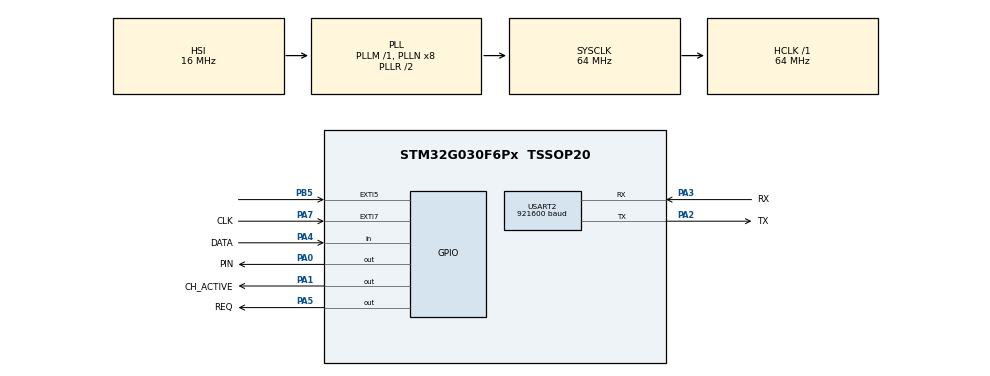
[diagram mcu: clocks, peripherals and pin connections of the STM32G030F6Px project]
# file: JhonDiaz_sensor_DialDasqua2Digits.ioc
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Mcu.Family=STM32G0
Mcu.Name=STM32G030F6Px
Mcu.Package=TSSOP20
NVIC.EXTI4_15_IRQn=true\:0\:0\:false\:true\:true\:2\:true\:true\:true
NVIC.USART2_IRQn=true\:0\:0\:false\:true\:true\:1\:true\:true\:true
PA0.GPIO_Label=PIN
PA0.Signal=GPIO_Output
PA1.GPIO_Label=CH_ACTIVE
PA1.Signal=GPIO_Output
PA14-BOOT0__PA15.StandardMode=true
PA2.GPIO_Label=TX
PA2.Mode=Asynchronous
PA2.Signal=USART2_TX
PA3.GPIO_Label=RX
PA3.Mode=Asynchronous
PA3.Signal=USART2_RX
PA4.GPIO_Label=DATA
PA4.Signal=GPIO_Input
PA5.GPIO_Label=REQ
PA5.Signal=GPIO_Output
PA7.GPIO_Label=CLK
PA7.GPIO_ModeDefaultEXTI=GPIO_MODE_IT_FALLING
PA7.Signal=GPXTI7
PB0__PB1__PB2__PA8.StandardMode=true
PB3__PB4__PB5__PB6.StandardMode=true
PB5.Signal=GPXTI5
PB7__PB8.StandardMode=false
PC14-OSC32_IN\ (PC14)__PB9.StandardMode=true
ProjectManager.HeapSize=0x200
ProjectManager.StackSize=0x400
ProjectManager.TargetToolchain=STM32CubeIDE
RCC.ADCFreq_Value=64000000
RCC.AHBFreq_Value=64000000
RCC.CortexFreq_Value=64000000
RCC.EXTERNAL_CLOCK_VALUE=12288000
RCC.HCLKFreq_Value=64000000
RCC.HSE_VALUE=8000000
RCC.HSI_VALUE=16000000
RCC.LSE_VALUE=32768
RCC.SYSCLKFreq_VALUE=64000000
RCC.SYSCLKSource=RCC_SYSCLKSOURCE_PLLCLK
RCC.VCOOutputFreq_Value=128000000
USART2.BaudRate=921600
USART2.VirtualMode-Asynchronous=VM_ASYNC
board=custom

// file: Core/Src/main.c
/* USER CODE BEGIN Header */
/**
 ******************************************************************************
 * @file           : main.c
 * @brief          : Main program body
 ******************************************************************************
 * @attention
 *
 * Copyright (c) 2024 STMicroelectronics.
 * All rights reserved.
 *
 * This software is licensed under terms that can be found in the LICENSE file
 * in the root directory of this software component.
 * If no LICENSE file comes with this software, it is provided AS-IS.
 *
 ******************************************************************************
 */
/* USER CODE END Header */
#include "main.h"

/* USER CODE BEGIN Includes */
#include <stdbool.h>
#include <string.h>
/* USER CODE END Includes */

/* USER CODE BEGIN PTD */
typedef enum {
	DIAL_UNIT_MM = 0, DIAL_UNIT_IN = 1, DIAL_UNIT_MAX
} dial_unit_t;
typedef struct {
	dial_unit_t unit;
	int decimals;
	float val;
} dial_data_t;
/* USER CODE END PTD */

/* USER CODE BEGIN PD */
#define IDLE_THRESH_MS (10)
#define BITS_PER_FRAME (28)
/* USER CODE END PD */

UART_HandleTypeDef huart2;

/* USER CODE BEGIN PV */
uint32_t LastBitTime = 0;
uint32_t BitCount = 0;
uint32_t BitFrame = 0;
uint8_t UartTx[6]={0};
/* USER CODE END PV */

void SystemClock_Config(void);
static void MX_GPIO_Init(void);
static void MX_USART2_UART_Init(void);
static void MX_NVIC_Init(void);

/* USER CODE BEGIN 0 */
bool dial_frame_to_real(dial_data_t *real, uint32_t frame) {
	uint32_t reverse_frame = 0;
	for (int i = 0; i < BITS_PER_FRAME; i++) {
		reverse_frame = reverse_frame << 1;
		reverse_frame |= (frame & 0b1);
		frame = frame >> 1;
	}

	// GROUP BITS
	uint64_t group_one = (reverse_frame >> 24) & 0b1111;
	uint64_t group_two = (reverse_frame >> 20) & 0b1111;
	uint64_t group_three = (reverse_frame >> 16) & 0b1111;
	uint64_t group_four = (reverse_frame >> 12) & 0b1111;
	uint64_t group_five = (reverse_frame >> 8) & 0b1111;
	uint64_t group_six = (reverse_frame >> 4) & 0b1111;

	// DECODE DATA
	float sign = 0.0;
	if (group_one == 0) {
		sign = 1.0;
		real->unit = DIAL_UNIT_MM;
	} else if (group_one == 1) {
		sign = 1.0;
		real->unit = DIAL_UNIT_IN;
	} else if (group_one == 2) {
		sign = -1.0;
		real->unit = DIAL_UNIT_MM;
	} else if (group_one == 3) {
		sign = -1.0;
		real->unit = DIAL_UNIT_IN;
	} else {
		return false;
	}

	float raw_val = group_two * 10000.0 + group_three * 1000.0
			+ group_four * 100.0 + group_five * 10.0 + group_six * 1.0;
	float unsigned_val =
			(real->unit == DIAL_UNIT_MM) ? raw_val / 100.0 : raw_val / 10000.0;
	real->decimals = (real->unit == DIAL_UNIT_MM) ? 2 : 4;
	real->val = unsigned_val * sign;

	return true;
}
void HAL_UART_TxCpltCallback(UART_HandleTypeDef *huart) {
	HAL_GPIO_WritePin(PIN_GPIO_Port, PIN_Pin, 0);
}
void valid_frame_callback(dial_data_t *real) {
	HAL_GPIO_TogglePin(PIN_GPIO_Port, PIN_Pin);

	UartTx[0] = real->unit;
	UartTx[1] = real->decimals;
	memcpy(&UartTx[2], &(real->val), 4);
	HAL_UART_Transmit_IT(&huart2, UartTx, 6);

	HAL_GPIO_TogglePin(PIN_GPIO_Port, PIN_Pin);
}
void HAL_GPIO_EXTI_Falling_Callback(uint16_t GPIO_Pin) {

	if (GPIO_Pin == CLK_Pin) {

		// new frame detected
		int32_t ElapsedTimeMs = HAL_GetTick() - LastBitTime;
		if (ElapsedTimeMs >= IDLE_THRESH_MS) {
			HAL_GPIO_WritePin(PIN_GPIO_Port, PIN_Pin, 1);
			BitCount = 0;
			BitFrame = 0;
		}

		// acumulate bits
		BitCount++;
		BitFrame = (BitFrame << 1) + HAL_GPIO_ReadPin(DATA_GPIO_Port, DATA_Pin);
		LastBitTime = HAL_GetTick();

		// frame completed
		if (BitCount == BITS_PER_FRAME) {
			dial_data_t real;
			HAL_GPIO_TogglePin(PIN_GPIO_Port, PIN_Pin);
			bool valid_frame = dial_frame_to_real(&real, BitFrame);
			HAL_GPIO_TogglePin(PIN_GPIO_Port, PIN_Pin);
			if (valid_frame) {
				valid_frame_callback(&real);
			}
		}
	}
}
/* USER CODE END 0 */

int main(void)
{

  /* MCU Configuration--------------------------------------------------------*/

  /* Reset of all peripherals, Initializes the Flash interface and the Systick. */
  HAL_Init();

  /* Configure the system clock */
  SystemClock_Config();

  /* Initialize all configured peripherals */
  MX_GPIO_Init();
  MX_USART2_UART_Init();

  /* Initialize interrupts */
  MX_NVIC_Init();
  /* USER CODE BEGIN 2 */
	HAL_GPIO_WritePin(PIN_GPIO_Port, PIN_Pin, 1);
	HAL_GPIO_WritePin(CH_ACTIVE_GPIO_Port, CH_ACTIVE_Pin, 1);
  /* USER CODE END 2 */

  /* Infinite loop */
	while (1) {

	}
}

void SystemClock_Config(void)
{
  RCC_OscInitTypeDef RCC_OscInitStruct = {0};
  RCC_ClkInitTypeDef RCC_ClkInitStruct = {0};

  /** Configure the main internal regulator output voltage
  */
  HAL_PWREx_ControlVoltageScaling(PWR_REGULATOR_VOLTAGE_SCALE1);

  /** Initializes the RCC Oscillators according to the specified parameters
  * in the RCC_OscInitTypeDef structure.
  */
  RCC_OscInitStruct.OscillatorType = RCC_OSCILLATORTYPE_HSI;
  RCC_OscInitStruct.HSIState = RCC_HSI_ON;
  RCC_OscInitStruct.HSIDiv = RCC_HSI_DIV1;
  RCC_OscInitStruct.HSICalibrationValue = RCC_HSICALIBRATION_DEFAULT;
  RCC_OscInitStruct.PLL.PLLState = RCC_PLL_ON;
  RCC_OscInitStruct.PLL.PLLSource = RCC_PLLSOURCE_HSI;
  RCC_OscInitStruct.PLL.PLLM = RCC_PLLM_DIV1;
  RCC_OscInitStruct.PLL.PLLN = 8;
  RCC_OscInitStruct.PLL.PLLP = RCC_PLLP_DIV2;
  RCC_OscInitStruct.PLL.PLLR = RCC_PLLR_DIV2;
  if (HAL_RCC_OscConfig(&RCC_OscInitStruct) != HAL_OK)
  {
    Error_Handler();
  }

  /** Initializes the CPU, AHB and APB buses clocks
  */
  RCC_ClkInitStruct.ClockType = RCC_CLOCKTYPE_HCLK|RCC_CLOCKTYPE_SYSCLK
                              |RCC_CLOCKTYPE_PCLK1;
  RCC_ClkInitStruct.SYSCLKSource = RCC_SYSCLKSOURCE_PLLCLK;
  RCC_ClkInitStruct.AHBCLKDivider = RCC_SYSCLK_DIV1;
  RCC_ClkInitStruct.APB1CLKDivider = RCC_HCLK_DIV1;

  if (HAL_RCC_ClockConfig(&RCC_ClkInitStruct, FLASH_LATENCY_2) != HAL_OK)
  {
    Error_Handler();
  }
}

/**
  * @brief NVIC Configuration.
  * @retval None
  */
static void MX_NVIC_Init(void)
{
  /* USART2_IRQn interrupt configuration */
  HAL_NVIC_SetPriority(USART2_IRQn, 0, 0);
  HAL_NVIC_EnableIRQ(USART2_IRQn);
  /* EXTI4_15_IRQn interrupt configuration */
  HAL_NVIC_SetPriority(EXTI4_15_IRQn, 0, 0);
  HAL_NVIC_EnableIRQ(EXTI4_15_IRQn);
}

static void MX_USART2_UART_Init(void)
{

  huart2.Instance = USART2;
  huart2.Init.BaudRate = 921600;
  huart2.Init.WordLength = UART_WORDLENGTH_8B;
  huart2.Init.StopBits = UART_STOPBITS_1;
  huart2.Init.Parity = UART_PARITY_NONE;
  huart2.Init.Mode = UART_MODE_TX_RX;
  huart2.Init.HwFlowCtl = UART_HWCONTROL_NONE;
  huart2.Init.OverSampling = UART_OVERSAMPLING_16;
  huart2.Init.OneBitSampling = UART_ONE_BIT_SAMPLE_DISABLE;
  huart2.Init.ClockPrescaler = UART_PRESCALER_DIV1;
  huart2.AdvancedInit.AdvFeatureInit = UART_ADVFEATURE_NO_INIT;
  if (HAL_UART_Init(&huart2) != HAL_OK)
  {
    Error_Handler();
  }

}

static void MX_GPIO_Init(void)
{
  GPIO_InitTypeDef GPIO_InitStruct = {0};

  /* GPIO Ports Clock Enable */
  __HAL_RCC_GPIOB_CLK_ENABLE();
  __HAL_RCC_GPIOC_CLK_ENABLE();
  __HAL_RCC_GPIOA_CLK_ENABLE();

  /*Configure GPIO pin Output Level */
  HAL_GPIO_WritePin(GPIOA, PIN_Pin|CH_ACTIVE_Pin|REQ_Pin, GPIO_PIN_RESET);

  /*Configure GPIO pins : PB7 PB8 PB9 PB0
                           PB1 PB2 PB3 PB4
                           PB6 */
  GPIO_InitStruct.Pin = GPIO_PIN_7|GPIO_PIN_8|GPIO_PIN_9|GPIO_PIN_0
                          |GPIO_PIN_1|GPIO_PIN_2|GPIO_PIN_3|GPIO_PIN_4
                          |GPIO_PIN_6;
  GPIO_InitStruct.Mode = GPIO_MODE_ANALOG;
  GPIO_InitStruct.Pull = GPIO_NOPULL;
  HAL_GPIO_Init(GPIOB, &GPIO_InitStruct);

  /*Configure GPIO pins : PC14 PC15 */
  GPIO_InitStruct.Pin = GPIO_PIN_14|GPIO_PIN_15;
  GPIO_InitStruct.Mode = GPIO_MODE_ANALOG;
  GPIO_InitStruct.Pull = GPIO_NOPULL;
  HAL_GPIO_Init(GPIOC, &GPIO_InitStruct);

  /*Configure GPIO pins : PIN_Pin CH_ACTIVE_Pin REQ_Pin */
  GPIO_InitStruct.Pin = PIN_Pin|CH_ACTIVE_Pin|REQ_Pin;
  GPIO_InitStruct.Mode = GPIO_MODE_OUTPUT_PP;
  GPIO_InitStruct.Pull = GPIO_NOPULL;
  GPIO_InitStruct.Speed = GPIO_SPEED_FREQ_LOW;
  HAL_GPIO_Init(GPIOA, &GPIO_InitStruct);

  /*Configure GPIO pin : DATA_Pin */
  GPIO_InitStruct.Pin = DATA_Pin;
  GPIO_InitStruct.Mode = GPIO_MODE_INPUT;
  GPIO_InitStruct.Pull = GPIO_NOPULL;
  HAL_GPIO_Init(DATA_GPIO_Port, &GPIO_InitStruct);

  /*Configure GPIO pins : PA6 PA8 PA11 PA12
                           PA13 PA14 PA15 */
  GPIO_InitStruct.Pin = GPIO_PIN_6|GPIO_PIN_8|GPIO_PIN_11|GPIO_PIN_12
                          |GPIO_PIN_13|GPIO_PIN_14|GPIO_PIN_15;
  GPIO_InitStruct.Mode = GPIO_MODE_ANALOG;
  GPIO_InitStruct.Pull = GPIO_NOPULL;
  HAL_GPIO_Init(GPIOA, &GPIO_InitStruct);

  /*Configure GPIO pin : CLK_Pin */
  GPIO_InitStruct.Pin = CLK_Pin;
  GPIO_InitStruct.Mode = GPIO_MODE_IT_FALLING;
  GPIO_InitStruct.Pull = GPIO_NOPULL;
  HAL_GPIO_Init(CLK_GPIO_Port, &GPIO_InitStruct);

  /*Configure GPIO pin : PB5 */
  GPIO_InitStruct.Pin = GPIO_PIN_5;
  GPIO_InitStruct.Mode = GPIO_MODE_IT_RISING;
  GPIO_InitStruct.Pull = GPIO_NOPULL;
  HAL_GPIO_Init(GPIOB, &GPIO_InitStruct);

}

void Error_Handler(void)
{
	__disable_irq();
	while (1) {
	}
}
